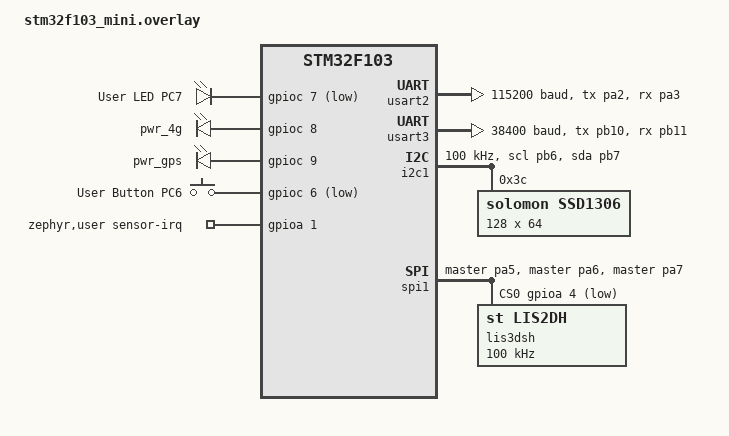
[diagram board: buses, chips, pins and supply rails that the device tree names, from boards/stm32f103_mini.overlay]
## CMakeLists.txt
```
cmake_minimum_required(VERSION 3.20.0)


set(APP_CONF_FILE ${CMAKE_CURRENT_SOURCE_DIR}/prj.conf)



find_package(Zephyr REQUIRED HINTS $ENV{ZEPHYR_BASE})
project(stm32mini_gps)

target_sources(app PRIVATE src/test_lis3dsh.c
        src/ublox_m10_nano.c
        src/gps_ring_buffer.c
        src/walk.c
        src/lis3dh.c
        src/ssd1306_app.c
)
```

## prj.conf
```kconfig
CONFIG_GPIO=y
# SPI
CONFIG_SPI=y
#
CONFIG_PRINTK=y
# 允许在 printk 中打印浮点数 (可选，如果想打印真实 m/s^2)
CONFIG_CBPRINTF_FP_SUPPORT=y

#
CONFIG_SHELL=y
CONFIG_LOG=y
CONFIG_LOG_MAX_LEVEL=4
# 开启串口和外设的独立控制
CONFIG_SERIAL=y
CONFIG_UART_INTERRUPT_DRIVEN=y

# ==================== 针对 Zephyr 4.4.1 的全量完全体显示驱动配置 ====================
# I2C ssd1306
CONFIG_I2C=y
# 1. 激活 Zephyr 内核的总显示模块接口
CONFIG_DISPLAY=y
# 2. 【核心修复】显式将 ssd1306 的物理驱动源码打包进编译树
CONFIG_SSD1306=y
# 3. 激活基于字符的帧缓冲区
CONFIG_CHARACTER_FRAMEBUFFER=y

# 4. 现代电源管理支持
CONFIG_PM=y
CONFIG_PM_DEVICE=y
CONFIG_HEAP_MEM_POOL_SIZE=4096
```

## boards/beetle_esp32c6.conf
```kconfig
CONFIG_LPUART_ESP32=y
```

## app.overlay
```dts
/ {
	aliases {
		led-test = &led_test_node;
	};

	leds {
		compatible = "gpio-leds";
		led_test_node: led-test-node {
			gpios = <&gpioa 8 GPIO_ACTIVE_LOW>;
			label = "Test LED";
		};
	};
};

/* 1. 确保内部 HSI 开启 */
&clk_hsi {
	status = "okay";
};

/* 2. 关闭 PLL，不使用它 */
&pll {
	status = "disabled";
};

/* 3. 强制 RCC 直接将 HSI 8MHz 作为全板的主时钟源 */
&rcc {
	clocks = <&clk_hsi>;
	clock-frequency = <DT_FREQ_M(8)>; /* 纯 8MHz 基频，不超频不倍频 */
	ahb-prescaler = <1>;
	apb1-prescaler = <1>;
	apb2-prescaler = <1>;
};
```

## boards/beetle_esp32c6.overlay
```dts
#include <zephyr/dt-bindings/pinctrl/esp-pinctrl-common.h>
#include <zephyr/dt-bindings/pinctrl/esp32c6-pinctrl.h>
#include <zephyr/dt-bindings/pinctrl/esp32c6-gpio-sigmap.h>

/ {
	chosen {
		zephyr,console = &usb_serial;
		zephyr,shell-uart = &usb_serial;
	};

	aliases {
		gps-uart = &uart1;
		lte-uart = &uart0;
	};

	gps_pwr: gps-pwr {
		compatible = "gpio-leds";
		n10_w_pin: w_pin {
			gpios = <&gpio0 21 0x00>;
			label = "N10_W_PIN";
		};
	};
};

&pinctrl {
	uart0_default: uart0_default {
		group1 {
			pinmux = <UART0_TX_GPIO6>;
			output-high;
		};
		group2 {
			pinmux = <UART0_RX_GPIO7>;
			bias-pull-up;
		};
	};

	uart1_default: uart1_default {
		group1 {
			pinmux = <UART1_TX_GPIO4>;
		};
		group2 {
			pinmux = <UART1_RX_GPIO5>;
			bias-pull-up;
		};
	};
};

&uart0 {
	status = "okay";
	current-speed = <115200>;
	pinctrl-0 = <&uart0_default>;
	pinctrl-names = "default";
};

&uart1 {
	status = "okay";
	current-speed = <9600>;
	pinctrl-0 = <&uart1_default>;
	pinctrl-names = "default";
};

&usb_serial {
	status = "okay";
};
```

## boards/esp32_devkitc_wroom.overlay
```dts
#include <zephyr/dt-bindings/pinctrl/esp-pinctrl-common.h>
#include <zephyr/dt-bindings/pinctrl/esp32-pinctrl.h>
#include <zephyr/dt-bindings/pinctrl/esp32-gpio-sigmap.h>

/ {
	chosen {
		zephyr,console = &uart0;
		zephyr,shell-uart = &uart0;
	};

	aliases {
		gps-uart = &uart2;
		lte-uart = &uart1;
	};

	gps_pwr: gps-pwr {
		compatible = "gpio-leds";
		n10_w_pin: w_pin {
			gpios = <&gpio0 21 0x00>;
			label = "N10_W_PIN";
		};
	};
};

&pinctrl {
	uart1_default: uart1_default {
		group1 {
			pinmux = <UART1_TX_GPIO17>;
		};
		group2 {
			pinmux = <UART1_RX_GPIO16>;
			bias-pull-up;
		};
	};

	uart2_default: uart2_default {
		group1 {
			pinmux = <UART2_TX_GPIO3>;
		};
		group2 {
			pinmux = <UART2_RX_GPIO1>;
			bias-pull-up;
		};
	};
};

&uart1 {
	status = "okay";
	current-speed = <115200>;
	pinctrl-0 = <&uart1_default>;
	pinctrl-names = "default";
};

&uart2 {
	status = "okay";
	current-speed = <9600>;
	pinctrl-0 = <&uart2_default>;
	pinctrl-names = "default";
};
```

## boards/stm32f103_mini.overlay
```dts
/* 位于：boards/stm32f103_mini.overlay */
/ {
	aliases {
		led-user = &led_pc7;
		button-user = &btn_pc6;
		modem-power = &pwr_4g;
		gps-power = &pwr_gps;

		/* ⭐ 新增：为您的 C 驱动添加串口映射别名，使其能够通过 DT_ALIAS(gps_uart) 成功捕获硬件 */
		gps-uart = &usart3;
	};

	leds {
		compatible = "gpio-leds";
		led_pc7: led-pc7-node {
			gpios = <&gpioc 7 GPIO_ACTIVE_LOW>;
			label = "User LED PC7";
		};
		pwr_4g: pwr-4g-node {
			gpios = <&gpioc 8 GPIO_ACTIVE_HIGH>;
		};
		pwr_gps: pwr-gps-node {
			gpios = <&gpioc 9 GPIO_ACTIVE_HIGH>;
		};
	};

	buttons {
		compatible = "gpio-keys";
		btn_pc6: btn-pc6-node {
			gpios = <&gpioc 6 (GPIO_PULL_UP | GPIO_ACTIVE_LOW)>;
			label = "User Button PC6";
		};
	};
};

&usart2 {
	pinctrl-0 = <&usart2_tx_pa2 &usart2_rx_pa3>;
	pinctrl-names = "default";
	current-speed = <115200>;
	status = "okay";
};

/* ================== GPS 串口部分修正 ================== */
&usart3 {
	pinctrl-0 = <&usart3_tx_pb10 &usart3_rx_pb11>;
	pinctrl-names = "default";

	/* ⭐ 修正：修改为 38400 匹配 u-blox M10 的默认初始化频率 */
	current-speed = <38400>;
	status = "okay";
};

&i2c1 {
	pinctrl-0 = <&i2c1_scl_pb6 &i2c1_sda_pb7>;
	pinctrl-names = "default";
	status = "okay";
	clock-frequency = <I2C_BITRATE_STANDARD>;

	ssd1306: ssd1306@3c {
		compatible = "solomon,ssd1306";
		reg = <0x3c>;
		width = <128>;
		height = <64>;
		segment-offset = <0>;
		page-offset = <0>;
		display-offset = <0>;
		multiplex-ratio = <63>;
		segment-remap;
		com-invdir;
		prechargep = <0x22>;
	};
};

&clk_hsi { status = "okay"; };
&pll { status = "disabled"; };
&rcc {
	clocks = <&clk_hsi>;
	clock-frequency = <DT_FREQ_M(8)>;
	ahb-prescaler = <1>;
	apb1-prescaler = <1>;
	apb2-prescaler = <1>;
};

/* ================== SPI1 修正部分 ================== */
&spi1 {
	status = "okay";

	/*
	 * 直接引用 Zephyr 官方为 STM32F1 预备的 SPI1 主机（Master）标准引脚标签
	 * 这样就不需要自己去写复杂的 &pinctrl 宏组合了
	 */
	pinctrl-0 = <&spi1_sck_master_pa5 &spi1_miso_master_pa6 &spi1_mosi_master_pa7>;
	pinctrl-names = "default";

	/* PA4 作为片选 */
	cs-gpios = <&gpioa 4 GPIO_ACTIVE_LOW>;

	lis3dsh: lis3dsh@0 {
	//	compatible = "vnd,spi-device"; //   这个是自定义 SPI 驱动
    	compatible = "st,lis2dh";  // 这个是 lis2dh, 要注意运行有问题时, 切回上面 vnd, spi-device
		reg = <0>;
		spi-max-frequency = <100000>; /* 从 1,000,000 降到 100,000 (100kHz) */
	};
};
/* 特别注意, 下面这个硬件中断配置是 LISDSH 专用, LIS3DSH 的 INT1 引脚, 接 STM32 上的 A1 引脚/也叫 PA1 引脚 */
/ {
	zephyr,user {
		/* 把引脚挂在用户自定义节点下，避开兼容性检查 */
		sensor-irq-gpios = <&gpioa 1 GPIO_ACTIVE_HIGH>;
	};
};
```

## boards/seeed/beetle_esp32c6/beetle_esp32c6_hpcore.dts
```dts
/*
 * SPDX-License-Identifier: Apache-2.0
 */

/dts-v1/;

#include <espressif/esp32c6/esp32c6_wroom_n4.dtsi>
#include <zephyr/dt-bindings/input/input-event-codes.h>
#include <zephyr/dt-bindings/pinctrl/esp-pinctrl-common.h>
#include <zephyr/dt-bindings/pinctrl/esp32c6-pinctrl.h>
#include <zephyr/dt-bindings/pinctrl/esp32c6-gpio-sigmap.h>
#include <espressif/partitions_0x0_default.dtsi>

/ {
	model = "Beetle ESP32-C6 HP Core";
	compatible = "espressif,esp32c6";

	chosen {
		zephyr,sram = &sramhp;
		zephyr,console = &uart0;
		zephyr,shell-uart = &uart0;
		zephyr,flash = &flash0;
		zephyr,code-partition = &slot0_partition;
	};

	aliases {
		watchdog0 = &wdt0;
	};
};

&pinctrl {
	uart0_default: uart0_default {
		group1 {
			pinmux = <UART0_TX_GPIO16>;
			output-high;
		};

		group2 {
			pinmux = <UART0_RX_GPIO17>;
			bias-pull-up;
		};
	};
};

&uart0 {
	status = "okay";
	current-speed = <115200>;
	pinctrl-0 = <&uart0_default>;
	pinctrl-names = "default";
};

&trng0 {
	status = "okay";
};

&gpio0 {
	status = "okay";
};

&wdt0 {
	status = "okay";
};

&wifi {
	status = "okay";
};

&ieee802154 {
	status = "okay";
};

&esp32_bt_hci {
	status = "okay";
};
```

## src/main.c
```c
#include <zephyr/kernel.h>
#include <zephyr/device.h>
#include <zephyr/drivers/spi.h>
#include <stdio.h>
#include "lis3dh.h"
#include "walk.h"
#include "ublox_m10_nano.h"
#include "gps_ring_buffer.h"
#include <zephyr/logging/log.h>
#include <stdlib.h>

#define SAMPLING_RATE_MS    (40)
#define LIS3DH_NODE         DT_NODELABEL(lis3dsh)

static const struct spi_dt_spec spi_dev = SPI_DT_SPEC_GET(LIS3DH_NODE, SPI_WORD_SET(8) | SPI_TRANSFER_MSB);
static const struct gpio_dt_spec int1_gpio = GPIO_DT_SPEC_GET(DT_PATH(zephyr_user), sensor_irq_gpios);

// ring buffer
GPS_RB_INSTANCE_DEFINE (gps_rb_main);
//
static ublox_m10_context_t gps_driver_ctx_main;
K_THREAD_STACK_DEFINE(gps_stack_main, GPS_THREAD_STACK_SZ);
//

// A. 从设备树安全获取两路不同的 STM32 硬件串口
const struct device* ublox_m10_gps_uart3_device = DEVICE_DT_GET(DT_NODELABEL(usart3));


int main(void)
{
    /**
     * gps
     */

    gps_rb_init(&gps_rb_main, gps_rb_main_raw_buf, sizeof(gps_rb_main_raw_buf));
    init_ubx_m10_driver_instance(&gps_driver_ctx_main, ublox_m10_gps_uart3_device, &gps_rb_main, gps_stack_main, 5);

    /**
    while(1) {
        gps_location_t main_loc;
        // 随时通过指定句柄消费对应实例的数据，两路完全并存、互不干扰
        if (gps_rb_pop(&gps_rb_main, &main_loc)) {
            // 消费主 GPS 数据...
        }
        k_sleep(K_MSEC(10));
    }
    */

    int16_t x_raw = 0, y_raw = 0, z_raw = 0;
    uint32_t total_steps = 0U, steps_inc = 0U;
    walk_pedometer_t my_pedometer;

    k_msleep(500);
    if (!spi_is_ready_dt(&spi_dev) || lis3dh_init(&spi_dev) < 0) return 0;
    lis3dh_reset_baseline(&spi_dev);
    gpio_pin_configure_dt(&int1_gpio, GPIO_INPUT | GPIO_PULL_DOWN);

    /* ================================================================= */
    /* 💡 全自动均值自适应初始化配置                                        */
    /* ================================================================= */
    uint32_t adaptive_debounce = 420U; /* 420ms 基础迈步防抖去回弹 */
    uint32_t adaptive_timeout = 4500U; /* 放宽断步超时时间为 4.5 秒，纵容慢速走停 */
    uint32_t min_amplitude = 140U; /* 幅度阻尼：动作起伏低于 140 LSB 的纯杂噪直接过滤 */

    /* 一键配置，算法内部将自动跟踪 Peak-Valley 并划定中间动态门槛 */
    walk_pedometer_init(&my_pedometer, 2, adaptive_debounce, adaptive_timeout, min_amplitude);
    /* ================================================================= */
    /* initial GPS u-blox m10 nano */
    printf("STM32F103_MINI 系统核心启动中...");


    while (1)
    {
        if (lis3dh_read_xyz(&spi_dev, &x_raw, &y_raw, &z_raw) == 0)
        {
            int64_t now_ms = k_uptime_get();
            (void)walk_pedometer_process(&my_pedometer, x_raw, y_raw, z_raw, now_ms, &steps_inc);

            if (steps_inc > 0U)
            {
                total_steps += steps_inc;
                if (steps_inc == (uint32_t)WALK_REQUIRED_STEPS)
                {
                    printf("\n🚀🚀🚀 [ADAPTIVE ACTIVE] 自动追踪步态成功！追加 %u 步。总步数: %u\n\n", WALK_REQUIRED_STEPS, total_steps);
                }
                else
                {
                    printf("🚶 [ADAPTIVE WALK] 规律波幅动态跨越，实时加步。总步数: %u\n", total_steps);
                }
            }
        }
        k_msleep(SAMPLING_RATE_MS);
    }
    return 0;
}
```

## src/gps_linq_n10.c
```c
#include <zephyr/kernel.h>
#include <zephyr/device.h>
#include <zephyr/drivers/uart.h>
#include <zephyr/drivers/gpio.h>
#include <string.h>
#include <stdio.h>
#include <stdlib.h>
#include <stdarg.h>
#include <zephyr/sys/atomic.h>
#include "gps_linq_n10.h"
#include "gps_nmea.h"

#define UART_DEVICE_NODE       DT_ALIAS(gps_uart)
#define N10_W_NODE             DT_NODELABEL(n10_w_pin)
#define NMEA_BUF_SIZE          128

#define TARGET_GPS_COUNT       30
#define FIRST_FIX_TIMEOUT_MS   90000
#define RUNTIME_RETRY_LIMIT    3
#define RUNTIME_FIX_TIMEOUT_MS 10000
#define SLEEP_INTERVAL_MS      180000

K_MSGQ_DEFINE(raw_uart_msgq, NMEA_BUF_SIZE, 8, 4);
K_MSGQ_DEFINE(print_msgq, sizeof(log_msg_t), PRINT_QUEUE_DEPTH, 4);

static const struct gpio_dt_spec n10_w_gpio = GPIO_DT_SPEC_GET(N10_W_NODE, gpios);
static char rx_buffer[NMEA_BUF_SIZE];
static int rx_buf_idx = 0;
static bool rx_drop_until_eol = false;
static atomic_t uart_rx_overflow_count;
static atomic_t uart_rx_line_drop_count;
static atomic_t log_queue_drop_count;


static void gps_pwr_on(void)
{
    (void)gpio_pin_set_dt(&n10_w_gpio, 1);
}


static void gps_pwr_off(void)
{
    (void)gpio_pin_set_dt(&n10_w_gpio, 0);
}


static bool should_print_speed_detail(double speed_kmh)
{
    return IS_ENABLED(CONFIG_GPS_SPEED_FULL_OUTPUT) ||
        (speed_kmh >= (double)CONFIG_GPS_SPEED_LOG_THRESHOLD_KMH);
}

static void n10_send_pmtk(const struct device* uart_dev, const char* cmd)
{
    char tx_buf[64];
    uint8_t checksum = 0;
    size_t tx_len;

    for (size_t i = 0; cmd[i] != '\0'; i++) { checksum ^= (uint8_t)cmd[i]; }
    snprintf(tx_buf, sizeof(tx_buf), "$%s*%02X\r\n", cmd, checksum);
    tx_len = strnlen(tx_buf, sizeof(tx_buf));
    for (size_t i = 0; i < tx_len; i++) { uart_poll_out(uart_dev, tx_buf[i]); }
    k_sleep(K_MSEC(200));
}

void safe_log_publish(const char* format, ...)
{
    log_msg_t msg;
    va_list args;
    va_start(args, format);
    vsnprintf(msg.text, sizeof(msg.text), format, args);
    va_end(args);

    if (k_msgq_put(&print_msgq, &msg, K_NO_WAIT) != 0)
    {
        log_msg_t dummy;

        atomic_inc(&log_queue_drop_count);
        if (k_msgq_get(&print_msgq, &dummy, K_NO_WAIT) == 0)
        {
            if (k_msgq_put(&print_msgq, &msg, K_NO_WAIT) != 0)
            {
                atomic_inc(&log_queue_drop_count);
            }
        }
    }
}

static void uart_cb(const struct device* dev, void* user_data)
{
    uint8_t c;
    ARG_UNUSED(user_data);

    if (!uart_irq_update(dev) || !uart_irq_rx_ready(dev)) return;

    while (uart_fifo_read(dev, &c, 1) > 0)
    {
        if (rx_drop_until_eol)
        {
            if (c == '\n' || c == '\r')
            {
                rx_drop_until_eol = false;
                rx_buf_idx = 0;
            }
            continue;
        }

        if (c == '\n' || c == '\r')
        {
            if (rx_buf_idx > 0)
            {
                int rc;
                rx_buffer[rx_buf_idx] = '\0';
                rc = k_msgq_put(&raw_uart_msgq, &rx_buffer, K_NO_WAIT);
                if (rc == -ENOMSG)
                {
                    atomic_inc(&uart_rx_line_drop_count);
                }
                rx_buf_idx = 0;
            }
        }
        else if (rx_buf_idx < (NMEA_BUF_SIZE - 1))
        {
            rx_buffer[rx_buf_idx++] = c;
        }
        else
        {
            atomic_inc(&uart_rx_overflow_count);
            rx_drop_until_eol = true;
            rx_buf_idx = 0;
        }
    }
}

static void gps_control_thread(void* p1, void* p2, void* p3)
{
    ARG_UNUSED(p1);
    ARG_UNUSED(p2);
    ARG_UNUSED(p3);
    const struct device* const uart_dev = DEVICE_DT_GET(UART_DEVICE_NODE);
    char nmea_sentence[NMEA_BUF_SIZE];

    if (!gpio_is_ready_dt(&n10_w_gpio))
    {
        printk("[4G-L][ERR] n10_w_gpio not ready.\n");
        return;
    }
    (void)gpio_pin_configure_dt(&n10_w_gpio, GPIO_OUTPUT_ACTIVE);

    if (!device_is_ready(uart_dev))
    {
        printk("[4G-L][ERR] gps uart not ready: %s\n", uart_dev->name);
        return;
    }

    uart_irq_callback_user_data_set(uart_dev, uart_cb, NULL);
    uart_irq_rx_enable(uart_dev);

    safe_log_publish("[4G-L] Init done.");

    while (1)
    {
        safe_log_publish("[PWR] ON.");
        (void)gps_pwr_on();
        k_sleep(K_MSEC(1500));

        n10_send_pmtk(uart_dev, "PMTK314,0,1,0,1,0,0,0,0,0,0,0,0,0,0,0,0,0,0,0");
        k_msgq_purge(&raw_uart_msgq);

        int current_sats = 0;
        char current_time[10] = "000000";
        double current_lat = 0.0, current_lon = 0.0;
        double current_speed_knots = 0.0;
        bool has_first_fix = false;
        int64_t upper_start_time = k_uptime_get();
        int64_t last_heartbeat_log_ms = 0;
        int overflow_snapshot = atomic_get(&uart_rx_overflow_count);
        int line_drop_snapshot = atomic_get(&uart_rx_line_drop_count);
        int log_drop_snapshot = atomic_get(&log_queue_drop_count);
        int first_fix_elapsed_ms = -1;
        int captured_frames = 0;
        char obs_summary[256];
        nmea_parse_state_t parse_state;
        nmea_parse_config_t parse_cfg;
        nmea_obs_stats_t obs;

        nmea_reset_parse_state(&parse_state);
        nmea_get_default_config(&parse_cfg);
        nmea_reset_obs_stats(&obs);

        double current_speed_kmh = nmea_knots_to_kmh(current_speed_knots);
        double current_speed_ms = nmea_knots_to_ms(current_speed_knots);

        safe_log_publish("[4G-L] Wait satnav (%ds)...", FIRST_FIX_TIMEOUT_MS / 1000);

        while (k_uptime_get() - upper_start_time < FIRST_FIX_TIMEOUT_MS)
        {
            int32_t rem_time = FIRST_FIX_TIMEOUT_MS - (int32_t)(k_uptime_get() - upper_start_time);
            if (rem_time <= 0) break;

            if (k_msgq_get(&raw_uart_msgq, &nmea_sentence, K_MSEC(1000)) == 0)
            {
                int64_t now_ms = k_uptime_get();
                int current_overflow = atomic_get(&uart_rx_overflow_count);

                if ((now_ms - last_heartbeat_log_ms) >= 8000)
                {
                    last_heartbeat_log_ms = now_ms;
                    safe_log_publish("[UART] Alive, waiting fix...");
                }
                if (current_overflow != overflow_snapshot)
                {
                    safe_log_publish("[WARN] UART overflow: %d", current_overflow);
                    overflow_snapshot = current_overflow;
                }

                if (nmea_process_sentence(nmea_sentence, &parse_state, &parse_cfg, &obs, &current_sats,
                                          current_time, sizeof(current_time),
                                          &current_speed_knots,
                                          &current_lat, &current_lon))
                {
                    current_speed_kmh = nmea_knots_to_kmh(current_speed_knots);
                    current_speed_ms = nmea_knots_to_ms(current_speed_knots);
                    has_first_fix = true;
                    first_fix_elapsed_ms = (int)(k_uptime_get() - upper_start_time);
                    if (should_print_speed_detail(current_speed_kmh))
                    {
                        safe_log_publish("[FIX] Star=%0d | Speed=%.2f kn (%.2f km/h / %.2f m/s)",
                                         current_sats, current_speed_knots, current_speed_kmh, current_speed_ms);
                    }
                    else
                    {
                        safe_log_publish("[FIX] Star=%0d | Speed=%.2f km/h", current_sats, current_speed_kmh);
                    }
                    break;
                }
            }
            else
            {
                obs.msgq_timeout_total++;
            }
        }

        bool session_success = false;
        if (has_first_fix)
        {
            int successful_gps_frames = 0;
            int runtime_retry_count = 0;
            safe_log_publish("[GPS] Capture %d fixes...", TARGET_GPS_COUNT);
            while (runtime_retry_count < RUNTIME_RETRY_LIMIT)
            {
                int64_t frame_start_time = k_uptime_get();
                bool got_frame = false;
                while (k_uptime_get() - frame_start_time < RUNTIME_FIX_TIMEOUT_MS)
                {
                    int32_t rem_time = RUNTIME_FIX_TIMEOUT_MS - (int32_t)(k_uptime_get() - frame_start_time);
                    if (rem_time <= 0) break;
                    if (k_msgq_get(&raw_uart_msgq, &nmea_sentence, K_MSEC(rem_time)) == 0)
                    {
                        if (nmea_process_sentence(nmea_sentence, &parse_state, &parse_cfg, &obs, &current_sats,
                                                  current_time, sizeof(current_time),
                                                  &current_speed_knots,
                                                  &current_lat, &current_lon))
                        {
                            current_speed_kmh = nmea_knots_to_kmh(current_speed_knots);
                            current_speed_ms = nmea_knots_to_ms(current_speed_knots);
                            got_frame = true;
                            successful_gps_frames++;
                            captured_frames = successful_gps_frames;
                            if (successful_gps_frames == 1 ||
                                successful_gps_frames == TARGET_GPS_COUNT ||
                                (successful_gps_frames % 5) == 0)
                            {
                                if (should_print_speed_detail(current_speed_kmh))
                                {
                                    safe_log_publish(
                                        "[DATA] %d/%d Star=%0d Speed=%.2f kn/%.2f km/h/%.2f m/s Lon=%.6f Lat=%.6f",
                                        successful_gps_frames, TARGET_GPS_COUNT,
                                        current_sats,
                                        current_speed_knots,
                                        current_speed_kmh,
                                        current_speed_ms,
                                        current_lon, current_lat);
                                }
                                else
                                {
                                    safe_log_publish(
                                        "[DATA] %d/%d Star=%0d Speed=%.2f km/h Lon=%.6f Lat=%.6f",
                                        successful_gps_frames, TARGET_GPS_COUNT,
                                        current_sats,
                                        current_speed_kmh,
                                        current_lon, current_lat);
                                }
                            }
                            if (successful_gps_frames >= TARGET_GPS_COUNT)
                            {
                                session_success = true;
                                break;
                            }
                            frame_start_time = k_uptime_get();
                        }
                    }
                    else
                    {
                        obs.msgq_timeout_total++;
                    }
                }
                if (session_success) break;
                if (!got_frame)
                {
                    runtime_retry_count++;
                    obs.signal_lost_total++;
                    safe_log_publish("[WARN] Signal lost %d/%d.", runtime_retry_count, RUNTIME_RETRY_LIMIT);
                }
            }
        }
        else { safe_log_publish("[FAIL] No fix in %ds.", FIRST_FIX_TIMEOUT_MS / 1000); }

        if (session_success) { safe_log_publish("[SESSION] OK. Power off."); }
        else { safe_log_publish("[SESSION] FAIL. Power off."); }

        safe_log_publish("[PWR] OFF.");
        (void)gps_pwr_off();

        nmea_build_observability_summary(
            &obs,
            (int)(k_uptime_get() - upper_start_time),
            first_fix_elapsed_ms,
            captured_frames,
            atomic_get(&uart_rx_overflow_count) - overflow_snapshot,
            atomic_get(&uart_rx_line_drop_count) - line_drop_snapshot,
            atomic_get(&log_queue_drop_count) - log_drop_snapshot,
            session_success,
            obs_summary,
            sizeof(obs_summary));
        safe_log_publish("%s", obs_summary);

        // safe_log_publish("[PWR] Sleep 3 min.");
        // k_sleep(K_MSEC(SLEEP_INTERVAL_MS));
    }
}


void gps_driver_init(void)
{
    safe_log_publish("[BOOT] GPS driver ready.\n");
}

K_THREAD_DEFINE(gps_manager_id, 2048, gps_control_thread, NULL, NULL, NULL, 5, 0, 0);
```

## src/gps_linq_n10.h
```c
#ifndef GPS_DRIVER_H_
#define GPS_DRIVER_H_

#include <zephyr/kernel.h>

#define PRINT_STR_LEN       128
#define PRINT_QUEUE_DEPTH   64

typedef struct
{
    char text[PRINT_STR_LEN];
} log_msg_t;

extern struct k_msgq print_msgq;
void safe_log_publish(const char* format, ...);

/* 🚀 新增：驱使编译器强制链接并保留该文件的显式初始化接口 */
void gps_driver_init(void);

#endif /* GPS_DRIVER_H_ */
```

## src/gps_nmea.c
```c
#include "gps_nmea.h"

#include <ctype.h>
#include <limits.h>
#include <math.h>
#include <stdio.h>
#include <stdlib.h>
#include <string.h>

#define NMEA_LOCAL_BUF_SIZE 128
#define NMEA_FIELD_MAX      16
#define NMEA_DEFAULT_MIN_FIX_QUALITY 1
#define NMEA_DEFAULT_MIN_SATELLITES  1

static void normalize_config(const nmea_parse_config_t* in, nmea_parse_config_t* out)
{
    out->min_fix_quality = NMEA_DEFAULT_MIN_FIX_QUALITY;
    out->min_satellites = NMEA_DEFAULT_MIN_SATELLITES;
    out->enable_gns_support = true;

    if (in == NULL)
    {
        return;
    }

    if (in->min_fix_quality > 0)
    {
        out->min_fix_quality = in->min_fix_quality;
    }
    if (in->min_satellites > 0)
    {
        out->min_satellites = in->min_satellites;
    }
    out->enable_gns_support = in->enable_gns_support;
}

static int current_valid_sats(const nmea_parse_state_t* state)
{
    return (state->gga_sats > state->gns_sats) ? state->gga_sats : state->gns_sats;
}

static bool has_fused_fix(const nmea_parse_state_t* state, const nmea_parse_config_t* config)
{
    return (state->rmc_valid || state->gns_valid) &&
        (current_valid_sats(state) >= config->min_satellites);
}

void nmea_reset_parse_state(nmea_parse_state_t* state)
{
    if (state == NULL)
    {
        return;
    }

    state->rmc_valid = false;
    state->gns_valid = false;
    state->gga_sats = 0;
    state->gns_sats = 0;
}

void nmea_reset_obs_stats(nmea_obs_stats_t* obs)
{
    if (obs == NULL)
    {
        return;
    }

    (void)memset(obs, 0, sizeof(*obs));
}

void nmea_get_default_config(nmea_parse_config_t* config)
{
    if (config == NULL)
    {
        return;
    }

    config->min_fix_quality = NMEA_DEFAULT_MIN_FIX_QUALITY;
    config->min_satellites = NMEA_DEFAULT_MIN_SATELLITES;
    config->enable_gns_support = true;
}

double nmea_knots_to_kmh(double knots)
{
    return knots * 1.852;
}

double nmea_knots_to_ms(double knots)
{
    return knots * 0.5144444444444445;
}

static bool parse_nmea_coord(const char* coord, const char* dir, double* out)
{
    char* endptr = NULL;
    double raw;
    int degrees;
    double minutes;
    char hemi;

    if (coord == NULL || dir == NULL || out == NULL || coord[0] == '\0' || dir[0] == '\0')
    {
        return false;
    }

    raw = strtod(coord, &endptr);
    if (endptr == coord || !isfinite(raw) || raw < 0.0)
    {
        return false;
    }

    degrees = (int)(raw / 100.0);
    minutes = raw - (degrees * 100.0);
    if (minutes < 0.0 || minutes >= 60.0)
    {
        return false;
    }

    *out = (double)degrees + (minutes / 60.0);
    hemi = (char)toupper((unsigned char)dir[0]);
    if (hemi == 'S' || hemi == 'W')
    {
        *out = -*out;
    }
    else if (hemi != 'N' && hemi != 'E')
    {
        return false;
    }

    return true;
}

static bool parse_int_field(const char* text, int* out)
{
    char* endptr = NULL;
    long v;

    if (text == NULL || out == NULL || text[0] == '\0')
    {
        return false;
    }

    v = strtol(text, &endptr, 10);
    if (endptr == text || (*endptr != '\0' && *endptr != '*'))
    {
        return false;
    }
    if (v < INT_MIN || v > INT_MAX)
    {
        return false;
    }

    *out = (int)v;
    return true;
}

static bool parse_double_field(const char* text, double* out)
{
    char* endptr = NULL;
    double v;

    if (text == NULL || out == NULL || text[0] == '\0')
    {
        return false;
    }

    v = strtod(text, &endptr);
    if (endptr == text || !isfinite(v) || v < 0.0)
    {
        return false;
    }

    *out = v;
    return true;
}

static int hex_char_to_int(char c)
{
    if (c >= '0' && c <= '9')
    {
        return c - '0';
    }
    c = (char)toupper((unsigned char)c);
    if (c >= 'A' && c <= 'F')
    {
        return 10 + (c - 'A');
    }
    return -1;
}

static bool validate_and_strip_checksum(char* line)
{
    char* star = strchr(line, '*');
    uint8_t calc = 0;
    int hi;
    int lo;

    if (line[0] == '$')
    {
        line++;
    }

    if (star == NULL)
    {
        return true;
    }

    if (star[1] == '\0' || star[2] == '\0' || star[3] != '\0')
    {
        return false;
    }

    hi = hex_char_to_int(star[1]);
    lo = hex_char_to_int(star[2]);
    if (hi < 0 || lo < 0)
    {
        return false;
    }

    for (char* p = line; p < star; p++)
    {
        calc ^= (uint8_t)(*p);
    }

    *star = '\0';
    return calc == (uint8_t)((hi << 4) | lo);
}

static int split_fields_preserve_empty(char* line, char* fields[], int max_fields)
{
    int count = 0;
    char* cur = line;

    if (max_fields <= 0)
    {
        return 0;
    }

    fields[count++] = cur;
    while (*cur != '\0')
    {
        if (*cur == ',')
        {
            *cur = '\0';
            if (count >= max_fields)
            {
                return count;
            }
            fields[count++] = cur + 1;
        }
        cur++;
    }

    return count;
}

static bool sentence_suffix_is(const char* sentence_id, const char* type3)
{
    size_t len;

    if (sentence_id == NULL || type3 == NULL)
    {
        return false;
    }

    if (sentence_id[0] == '$')
    {
        sentence_id++;
    }

    len = strlen(sentence_id);
    if (len < 3U)
    {
        return false;
    }

    return (toupper((unsigned char)sentence_id[len - 3]) == (unsigned char)type3[0] &&
        toupper((unsigned char)sentence_id[len - 2]) == (unsigned char)type3[1] &&
        toupper((unsigned char)sentence_id[len - 1]) == (unsigned char)type3[2]);
}

bool nmea_process_sentence(const char* nmea,
                           nmea_parse_state_t* state,
                           const nmea_parse_config_t* config,
                           nmea_obs_stats_t* obs,
                           int* sat_out,
                           char* time_out,
                           size_t time_out_len,
                           double* speed_knots_out,
                           double* lat_out,
                           double* lon_out)
{
    char nmea_copy[NMEA_LOCAL_BUF_SIZE];
    char* fields[NMEA_FIELD_MAX] = {NULL};
    int token_count = 0;
    size_t nmea_len;
    nmea_parse_config_t cfg;

    if (nmea == NULL || state == NULL || obs == NULL || sat_out == NULL ||
        time_out == NULL || time_out_len < 7U || speed_knots_out == NULL ||
        lat_out == NULL || lon_out == NULL)
    {
        return false;
    }

    normalize_config(config, &cfg);
    obs->nmea_total++;

    nmea_len = strnlen(nmea, sizeof(nmea_copy) + 1U);
    if (nmea_len == 0U || nmea_len >= sizeof(nmea_copy))
    {
        obs->oversize_total++;
        obs->malformed_total++;
        return false;
    }

    (void)memcpy(nmea_copy, nmea, nmea_len + 1U);

    /* Trim optional line endings to support generic caller inputs. */
    while (nmea_len > 0U && (nmea_copy[nmea_len - 1U] == '\r' || nmea_copy[nmea_len - 1U] == '\n'))
    {
        nmea_copy[nmea_len - 1U] = '\0';
        nmea_len--;
    }
    if (nmea_len == 0U)
    {
        obs->malformed_total++;
        return false;
    }

    if (!validate_and_strip_checksum(nmea_copy))
    {
        obs->checksum_fail_total++;
        obs->malformed_total++;
        return false;
    }

    token_count = split_fields_preserve_empty(nmea_copy, fields, NMEA_FIELD_MAX);
    if (token_count <= 0 || fields[0] == NULL || fields[0][0] == '\0')
    {
        obs->malformed_total++;
        return false;
    }

    if (token_count < 2)
    {
        obs->malformed_total++;
        return false;
    }

    if (sentence_suffix_is(fields[0], "GGA"))
    {
        obs->gga_total++;
        if (token_count >= 8 && fields[6] != NULL && fields[7] != NULL)
        {
            int quality = 0;
            int sats = 0;

            if (parse_int_field(fields[6], &quality) && parse_int_field(fields[7], &sats) &&
                quality >= cfg.min_fix_quality && sats >= cfg.min_satellites)
            {
                state->gga_sats = sats;
                *sat_out = sats;
            }
            else
            {
                obs->gga_reject_total++;
                state->gga_sats = 0;
                *sat_out = 0;
            }
        }
        else
        {
            obs->malformed_total++;
        }

        if (has_fused_fix(state, &cfg))
        {
            *sat_out = current_valid_sats(state);
            obs->valid_fix_total++;
            return true;
        }
        return false;
    }

    if (sentence_suffix_is(fields[0], "RMC"))
    {
        obs->rmc_total++;
        if (token_count >= 7 && fields[1] != NULL && fields[2] != NULL &&
            fields[3] != NULL && fields[4] != NULL && fields[5] != NULL && fields[6] != NULL)
        {
            double speed_knots = 0.0;

            if (toupper((unsigned char)fields[2][0]) == 'A')
            {
                state->rmc_valid = true;
                if (strnlen(fields[1], 16) >= 6U)
                {
                    (void)snprintf(time_out, time_out_len, "%.6s", fields[1]);
                }
                else
                {
                    (void)snprintf(time_out, time_out_len, "000000");
                }

                if (!parse_nmea_coord(fields[3], fields[4], lat_out) ||
                    !parse_nmea_coord(fields[5], fields[6], lon_out))
                {
                    obs->coord_parse_fail_total++;
                    state->rmc_valid = false;
                }

                if (state->rmc_valid && token_count >= 8 && fields[7] != NULL &&
                    parse_double_field(fields[7], &speed_knots))
                {
                    *speed_knots_out = speed_knots;
                }
                else if (state->rmc_valid && token_count >= 8 && fields[7] != NULL &&
                    fields[7][0] != '\0')
                {
                    obs->speed_parse_fail_total++;
                }
            }
            else
            {
                obs->rmc_invalid_status_total++;
                state->rmc_valid = false;
            }
        }
        else
        {
            obs->malformed_total++;
        }

        if (has_fused_fix(state, &cfg))
        {
            *sat_out = current_valid_sats(state);
            obs->valid_fix_total++;
            return true;
        }
        return false;
    }

    if (cfg.enable_gns_support && sentence_suffix_is(fields[0], "GNS"))
    {
        obs->gns_total++;
        if (token_count >= 8 && fields[1] != NULL && fields[2] != NULL && fields[3] != NULL &&
            fields[4] != NULL && fields[5] != NULL && fields[6] != NULL && fields[7] != NULL)
        {
            int sats = 0;
            char mode = (char)toupper((unsigned char)fields[6][0]);
            bool mode_valid = (mode != '\0' && mode != 'N');

            if (mode_valid && parse_int_field(fields[7], &sats) && sats >= cfg.min_satellites &&
                parse_nmea_coord(fields[2], fields[3], lat_out) &&
                parse_nmea_coord(fields[4], fields[5], lon_out))
            {
                state->gns_valid = true;
                state->gns_sats = sats;
                *sat_out = sats;
                if (strnlen(fields[1], 16) >= 6U)
                {
                    (void)snprintf(time_out, time_out_len, "%.6s", fields[1]);
                }
            }
            else
            {
                if (!mode_valid || sats < cfg.min_satellites)
                {
                    obs->gns_reject_total++;
                }
                else
                {
                    obs->coord_parse_fail_total++;
                }
                state->gns_valid = false;
                state->gns_sats = 0;
            }
        }
        else
        {
            obs->malformed_total++;
        }

        if (has_fused_fix(state, &cfg))
        {
            *sat_out = current_valid_sats(state);
            obs->valid_fix_total++;
            return true;
        }
        return false;
    }

    obs->unknown_total++;
    return false;
}

void nmea_build_observability_summary(const nmea_obs_stats_t* obs,
                                      int uptime_ms,
                                      int first_fix_ms,
                                      int captured_frames,
                                      int uart_overflow_delta,
                                      int uart_line_drop_delta,
                                      int log_drop_delta,
                                      bool session_success,
                                      char* out,
                                      size_t out_len)
{
    if (obs == NULL || out == NULL || out_len == 0U)
    {
        return;
    }

    (void)snprintf(
        out,
        out_len,
        "[OBS] %s up=%dms fix=%dms frames=%d "
        "NMEA=%u(GGA=%u,RMC=%u,GNS=%u,UNK=%u) err=%u(chk=%u,ovf=%u,GGA=%u,GNS=%u,RMC=%u,spd=%u,coord=%u) "
        "to=%u lost=%u uart_ovf=%d uart_drop=%d log_drop=%d",
        session_success ? "ok" : "fail",
        uptime_ms,
        first_fix_ms,
        captured_frames,
        obs->nmea_total,
        obs->gga_total,
        obs->rmc_total,
        obs->gns_total,
        obs->unknown_total,
        obs->malformed_total,
        obs->checksum_fail_total,
        obs->oversize_total,
        obs->gga_reject_total,
        obs->gns_reject_total,
        obs->rmc_invalid_status_total,
        obs->speed_parse_fail_total,
        obs->coord_parse_fail_total,
        obs->msgq_timeout_total,
        obs->signal_lost_total,
        uart_overflow_delta,
        uart_line_drop_delta,
        log_drop_delta);
}
```

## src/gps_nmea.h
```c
#ifndef NMEA_H_
#define NMEA_H_

#include <stdbool.h>
#include <stddef.h>
#include <stdint.h>

typedef struct
{
    bool rmc_valid;
    bool gns_valid;
    int gga_sats;
    int gns_sats;
} nmea_parse_state_t;

typedef struct
{
    int min_fix_quality;
    int min_satellites;
    bool enable_gns_support;
} nmea_parse_config_t;

typedef struct
{
    uint32_t nmea_total;
    uint32_t gga_total;
    uint32_t rmc_total;
    uint32_t gns_total;
    uint32_t unknown_total;
    uint32_t malformed_total;
    uint32_t checksum_fail_total;
    uint32_t oversize_total;
    uint32_t gga_reject_total;
    uint32_t gns_reject_total;
    uint32_t rmc_invalid_status_total;
    uint32_t speed_parse_fail_total;
    uint32_t coord_parse_fail_total;
    uint32_t valid_fix_total;
    uint32_t msgq_timeout_total;
    uint32_t signal_lost_total;
} nmea_obs_stats_t;

void nmea_reset_parse_state(nmea_parse_state_t* state);
void nmea_reset_obs_stats(nmea_obs_stats_t* obs);
void nmea_get_default_config(nmea_parse_config_t* config);

double nmea_knots_to_kmh(double knots);
double nmea_knots_to_ms(double knots);

bool nmea_process_sentence(const char* nmea,
                           nmea_parse_state_t* state,
                           const nmea_parse_config_t* config,
                           nmea_obs_stats_t* obs,
                           int* sat_out,
                           char* time_out,
                           size_t time_out_len,
                           double* speed_knots_out,
                           double* lat_out,
                           double* lon_out);

void nmea_build_observability_summary(const nmea_obs_stats_t* obs,
                                      int uptime_ms,
                                      int first_fix_ms,
                                      int captured_frames,
                                      int uart_overflow_delta,
                                      int uart_line_drop_delta,
                                      int log_drop_delta,
                                      bool session_success,
                                      char* out,
                                      size_t out_len);

#endif /* NMEA_H_ */
```

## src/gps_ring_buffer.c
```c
/**
* @file gps_ring_buffer.c
 * @brief Multi-Instance GPS Ring Buffer Implementation (Safe C17 Compliant)
 */

#include "gps_ring_buffer.h"

void gps_rb_init(gps_rb_instance_t* instance, uint8_t* raw_buffer, uint32_t raw_buffer_size)
{
    if ((instance == NULL) || (raw_buffer == NULL) || (raw_buffer_size < (uint32_t)sizeof(gps_location_t)))
    {
        return;
    }
    // ⭐ Standardized Zephyr way: Delegating internal initialization to the official API safely
    ring_buf_init(&instance->rb_meta, raw_buffer_size, raw_buffer);
}

int gps_rb_push(gps_rb_instance_t* instance, const gps_location_t* new_data)
{
    if ((instance == NULL) || (new_data == NULL))
    {
        return -EINVAL;
    }

    if (ring_buf_space_get(&instance->rb_meta) < (uint32_t)sizeof(gps_location_t))
    {
        return -ENOSPC;
    }

    uint32_t bytes_written = ring_buf_put(&instance->rb_meta, (const uint8_t*)new_data,
                                          (uint32_t)sizeof(gps_location_t));
    if (bytes_written != (uint32_t)sizeof(gps_location_t))
    {
        return -EIO;
    }

    return 0;
}

bool gps_rb_pop(gps_rb_instance_t* instance, gps_location_t* out_data)
{
    if ((instance == NULL) || (out_data == NULL))
    {
        return false;
    }

    if (ring_buf_size_get(&instance->rb_meta) < (uint32_t)sizeof(gps_location_t))
    {
        return false;
    }

    uint32_t bytes_read = ring_buf_get(&instance->rb_meta, (uint8_t*)out_data, (uint32_t)sizeof(gps_location_t));
    if (bytes_read != (uint32_t)sizeof(gps_location_t))
    {
        return false;
    }

    return true;
}

uint32_t gps_rb_get_unread_count(const gps_rb_instance_t* instance)
{
    if (instance == NULL)
    {
        return 0U;
    }
    uint32_t total_unread_bytes = ring_buf_size_get(&instance->rb_meta);
    return total_unread_bytes / (uint32_t)sizeof(gps_location_t);
}
```

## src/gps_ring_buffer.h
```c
/**
* @file gps_ring_buffer.h
 * @brief Multi-instance GPS Ring Buffer Core Header (Production-Grade C17 / Zephyr 4.4.1)
 */

#ifndef GPS_RING_BUFFER_H
#define GPS_RING_BUFFER_H

#include <zephyr/kernel.h>
#include <zephyr/sys/ring_buffer.h>
#include <stdint.h>
#include <stdbool.h>

#define REQ_CAPACITY 16U

/* Core 16-byte GPS context representation data structure */
typedef struct {
    uint8_t fixType;
    uint8_t numSV;
    int32_t lon;
    int32_t lat;
    int32_t gSpeed;
} gps_location_t;

#define GPS_RING_BUF_BYTE_SIZE (REQ_CAPACITY * sizeof(gps_location_t))

// Container layout tracking structure instance
typedef struct {
    struct ring_buf rb_meta;
} gps_rb_instance_t;

// ==============================================================================
// ⭐ FIXED COMPLIANT MACRO DEFINE (Zero struct hack, purely allocates memory blocks)
// ==============================================================================
/**
 * @brief Statically allocate tracking objects and array contexts for a new ring buffer instance.
 * @param name The global token identifier of your queue tracker.
 */
#define GPS_RB_INSTANCE_DEFINE(name)                                           \
    uint8_t __aligned(4) name##_raw_buf[GPS_RING_BUF_BYTE_SIZE];               \
    gps_rb_instance_t name

// ==============================================================================
// Function APIs
// ==============================================================================

/**
 * @brief Explicit runtime configuration interface binding raw arrays to structural context blocks
 */
void gps_rb_init(gps_rb_instance_t *instance, uint8_t *raw_buffer, uint32_t raw_buffer_size);

int gps_rb_push(gps_rb_instance_t *instance, const gps_location_t *new_data);
bool gps_rb_pop(gps_rb_instance_t *instance, gps_location_t *out_data);
uint32_t gps_rb_get_unread_count(const gps_rb_instance_t *instance);

#endif // GPS_RING_BUFFER_H
```

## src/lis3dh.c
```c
#include "lis3dh.h"
#include <string.h>

#define SPI_READ_BIT           0x80
#define SPI_AUTO_INC_BIT       0x40


int lis3dh_reg_write(const struct spi_dt_spec* spi_spec, uint8_t reg, uint8_t data)
{
    uint8_t tx_buf[2] = {reg, data};
    const struct spi_buf tx = {.buf = tx_buf, .len = 2};
    const struct spi_buf_set tx_set = {.buffers = &tx, .count = 1};
    return spi_write_dt(spi_spec, &tx_set);
}

int lis3dh_reg_read(const struct spi_dt_spec* spi_spec, uint8_t reg, uint8_t* data, size_t len)
{
    uint8_t tx_buf[8] = {0};
    uint8_t rx_buf[8] = {0};

    if (len > 7)
    {
        return -EINVAL;
    }

    tx_buf[0] = reg | SPI_READ_BIT;
    if (len > 1)
    {
        tx_buf[0] |= SPI_AUTO_INC_BIT;
    }

    const struct spi_buf tx = {.buf = tx_buf, .len = len + 1};
    const struct spi_buf_set tx_set = {.buffers = &tx, .count = 1};
    const struct spi_buf rx = {.buf = rx_buf, .len = len + 1};
    const struct spi_buf_set rx_set = {.buffers = &rx, .count = 1};

    int ret = spi_transceive_dt(spi_spec, &tx_set, &rx_set);
    if (ret == 0)
    {
        memcpy(data, &rx_buf[1], len);
    }
    return ret;
}

int lis3dh_init(const struct spi_dt_spec* spi_spec)
{
    uint8_t who_am_i = 0;
    int ret;

    /* 1. 验证 ID */
    ret = lis3dh_reg_read(spi_spec, 0x0F, &who_am_i, 1);
    if (ret < 0 || who_am_i != 0x33)
    {
        return -ENODEV;
    }

    /* 2. 暴力重置：写入 0x40 到 CTRL_REG5 (0x24)，触发软复位，清空所有残留配置 */
    lis3dh_reg_write(spi_spec, 0x24, 0x80);
    k_msleep(50); // 给芯片一点时间完成重启

    /* 3. CTRL_REG1: 100Hz, 开启 X/Y/Z 轴 */
    lis3dh_reg_write(spi_spec, 0x20, 0x57);

    /* 4. CTRL_REG2: 开启高通滤波路由到中断1，过滤重力 */
    lis3dh_reg_write(spi_spec, 0x21, 0x09);

    /* 5. CTRL_REG3: IA1 路由到物理 INT1 */
    lis3dh_reg_write(spi_spec, 0x22, 0x40);

    /* 6. CTRL_REG5: 开启锁存(LIR1) */
    lis3dh_reg_write(spi_spec, 0x24, 0x08);

    /* 7. 关键：INT1_THS 设置阈值 */
    lis3dh_reg_write(spi_spec, 0x32, 0x20);

    /* 8. 关键：INT1_CFG 只开启 High 事件 (0x2A) */
    lis3dh_reg_write(spi_spec, 0x30, 0x2A);

    /* 9. 强制清空一次中断状态，确保开机时 INT1 引脚是 0V */
    uint8_t dummy;
    lis3dh_clear_interrupt(spi_spec, &dummy);

    return 0;
}

int lis3dh_clear_interrupt(const struct spi_dt_spec* spi_spec, uint8_t* src)
{
    return lis3dh_reg_read(spi_spec, LIS3DH_REG_INT1_SRC, src, 1);
}


int lis3dh_read_xyz(const struct spi_dt_spec* spi_spec, int16_t* x, int16_t* y, int16_t* z)
{
    uint8_t axis_data[6];
    /* 💡 核心：0x28 (OUT_X_L) | 0x80 (读指令) | 0x40 (多字节自增) = 0xC8 */
    uint8_t reg_addr = LIS3DH_REG_OUT_X_L | 0x80U | 0x40U;
    if (lis3dh_reg_read(spi_spec, reg_addr, axis_data, 6) == 0)
    {
        *x = ((int16_t)((axis_data[1] << 8) | axis_data[0]));
        *y = ((int16_t)((axis_data[3] << 8) | axis_data[2]));
        *z = ((int16_t)((axis_data[5] << 8) | axis_data[4]));
        // printk("   Accel Data -> X: %d | Y: %d | Z: %d\n", x, y, z);
        return 0;
    }
    return -1;
}


int lis3dh_enter_low_power_wom(const struct spi_dt_spec* spi_spec, uint8_t threshold_lsb)
{
    uint8_t dummy_src = 0U;

    /* 1. 先关闭中断使能，防止配置过程中的瞬时乱序电平误触发主控 */
    int ret = lis3dh_reg_write(spi_spec, LIS3DH_REG_INT1_CFG, 0x00U);
    if (ret < 0) return ret;

    /* 2. 配置 CTRL_REG1: ODR = 10Hz, 正常模式(8-bit), 三轴使能 */
    ret = lis3dh_reg_write(spi_spec, LIS3DH_REG_CTRL_REG1, 0x17U);
    if (ret < 0) return ret;

    /* 3. 配置 CTRL_REG2: 开启硬件高通滤波器 (HPF) 引入中断 1 */
    ret = lis3dh_reg_write(spi_spec, 0x21U, 0x01U);
    if (ret < 0) return ret;

    /* 4. 配置 CTRL_REG3: 将 IA1 路由至 INT1 引脚 */
    ret = lis3dh_reg_write(spi_spec, LIS3DH_REG_CTRL_REG3, 0x40U);
    if (ret < 0) return ret;

    /* 5. 配置 CTRL_REG4: 量程 ±2g, 开启 LIR (中断锁存) */
    /* 锁存能保证电平持续为高，方便低功耗休眠中的 STM32 稳稳抓到中断沿 */
    ret = lis3dh_reg_write(spi_spec, LIS3DH_REG_CTRL_REG4, 0x08U);
    if (ret < 0) return ret;

    /* 6. 配置 INT1_THS: 设定硬件运动触发阈值 */
    ret = lis3dh_reg_write(spi_spec, LIS3DH_REG_INT1_THS, threshold_lsb);
    if (ret < 0) return ret;

    /* 7. 配置 INT1_DURATION: 持续时间设为 1 个时钟周期 (10Hz下约100ms) */
    ret = lis3dh_reg_write(spi_spec, LIS3DH_REG_INT1_DURATION, 0x01U);
    if (ret < 0) return ret;

    /* 8. 核心必修步骤：刷新高通滤波器基准线，强行读一次清除锁存，把引脚压回绝对低电平 */
    (void)lis3dh_reset_baseline(spi_spec);
    (void)lis3dh_clear_interrupt(spi_spec, &dummy_src);

    /* 9. 【最后一步】：滤波器完全稳定后，再安全开启三轴高方向事件中断使能，规避自激幽灵中断 */
    ret = lis3dh_reg_write(spi_spec, LIS3DH_REG_INT1_CFG, 0x2AU);

    return ret;
}

int lis3dh_exit_to_normal_walking(const struct spi_dt_spec* spi_spec)
{
    int ret;

    /* 1. 立即关闭 INT1 的硬件中断使能，防止后续快速计步时，引脚频繁跳变干扰 STM32 的中断服务函数 */
    ret = lis3dh_reg_write(spi_spec, LIS3DH_REG_INT1_CFG, 0x00U);
    if (ret < 0) return ret;

    /* 2. 满血复活配置 CTRL_REG1: ODR = 25Hz, 12-bit 高分辨率模式 */
    ret = lis3dh_reg_write(spi_spec, LIS3DH_REG_CTRL_REG1, 0x37U);
    if (ret < 0) return ret;

    /* 3. 关闭硬件内置高通滤波器（交由 walk.c 的软件自适应均值窗口进行更高级的滤波） */
    ret = lis3dh_reg_write(spi_spec, 0x21U, 0x00U);

    return ret;
}

/**
 * @brief 刷新内置硬件高通滤波器基准线
 * @note  通过虚拟读取 REFERENCE (0x26) 寄存器，强行令硬件瞬间对齐当前空间重力
 */
int lis3dh_reset_baseline(const struct spi_dt_spec* spi_spec)
{
    uint8_t dummy_data = 0U;
    int ret;

    /* 根据 LIS3DH SPI 协议：读取单寄存器时，最高位 (Bit 0) 必须置 1 (0x80) */
    /* 0x26 | 0x80 = 0xA6 */
    uint8_t reg_addr = LIS3DH_REG_REFERENCE | 0x80U;

    /* 构建 Zephyr 标准 SPI 读写缓冲区 */
    struct spi_buf tx_buf = {.buf = &reg_addr, .len = 1U};
    struct spi_buf_set tx_set = {.buffers = &tx_buf, .count = 1U};

    /* dummy_data 用于接收读取出来的无用基准字节 */
    struct spi_buf rx_buf = {.buf = &dummy_data, .len = 1U};
    struct spi_buf_set rx_set = {.buffers = &rx_buf, .count = 1U};

    /* 执行 SPI 事务：先发寄存器地址，再读取内容 */
    ret = spi_write_dt(spi_spec, &tx_set);
    if (ret < 0)
    {
        return ret;
    }

    ret = spi_read_dt(spi_spec, &rx_set);
    if (ret < 0)
    {
        return ret;
    }

    /* 显式强转抛弃 dummy_data 的未使用警告，符合 C17 严苛的静态分析规范 */
    (void)dummy_data;

    return 0; /* 成功返回 0，硬件 HPF 零位线已成功刷新 */
}
```

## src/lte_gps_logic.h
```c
#ifndef LTE_GPS_LOGIC_H_
#define LTE_GPS_LOGIC_H_

#include <stdint.h>
#include <stdbool.h>
#include "lte_gps_report.h"

typedef struct
{
    uint8_t status; // 0:睡眠 1:普通 2:重要工作 3:部分失效
    uint8_t battery; // 0-100%
    uint16_t sleep_countdown; // 秒
    char device_id[32];
} heartbeat_report_t;

heartbeat_report_t* heartbeat_create(uint8_t status, uint8_t battery,
                                     uint16_t sleep_time, const char* dev_id);
void heartbeat_destroy(heartbeat_report_t* hb);
bool heartbeat_serialize(const heartbeat_report_t* hb, uint8_t* buffer, size_t* out_len);

bool ntp_sync(uint32_t * out_timestamp);

bool gps_report_send(const gps_report_t* report, const char* server_host, uint16_t server_port);

bool heartbeat_send(const heartbeat_report_t* hb, const char* server_host, uint16_t server_port);

uint32_t get_system_timestamp(void);

void set_system_timestamp(uint32_t ts);

#endif /* LTE_GPS_LOGIC_H_ */
```
